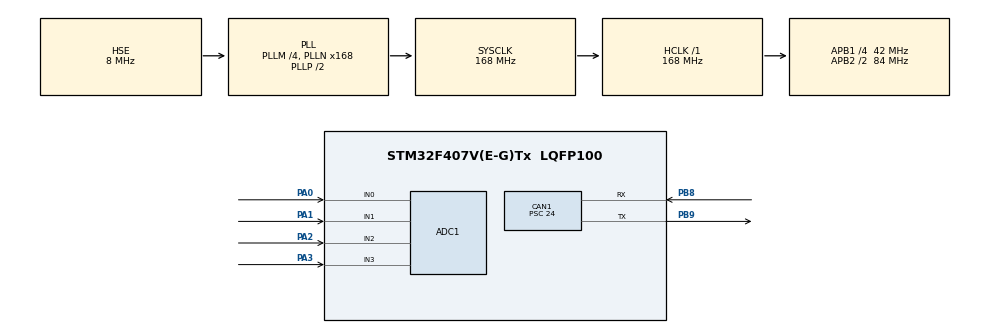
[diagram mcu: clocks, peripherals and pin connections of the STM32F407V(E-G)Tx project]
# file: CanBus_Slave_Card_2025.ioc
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ADC1.Channel-0\#ChannelRegularConversion=ADC_CHANNEL_0
ADC1.ContinuousConvMode=ENABLE
ADC1.NbrOfConversionFlag=1
ADC1.Rank-0\#ChannelRegularConversion=1
ADC1.SamplingTime-0\#ChannelRegularConversion=ADC_SAMPLETIME_3CYCLES
ADC1.master=1
CAN1.BS1=CAN_BS1_3TQ
CAN1.BS2=CAN_BS2_3TQ
CAN1.CalculateBaudRate=250000
CAN1.CalculateTimeBit=4000
CAN1.CalculateTimeQuantum=571.4285714285714
CAN1.Prescaler=24
Mcu.Family=STM32F4
Mcu.Name=STM32F407V(E-G)Tx
Mcu.Package=LQFP100
NVIC.PriorityGroup=NVIC_PRIORITYGROUP_4
PA0-WKUP.Signal=ADCx_IN0
PA1.Signal=ADCx_IN1
PA13.Mode=Serial_Wire
PA13.Signal=SYS_JTMS-SWDIO
PA14.Mode=Serial_Wire
PA14.Signal=SYS_JTCK-SWCLK
PA2.Signal=ADCx_IN2
PA3.Signal=ADCx_IN3
PB8.Mode=CAN_Activate
PB8.Signal=CAN1_RX
PB9.Mode=CAN_Activate
PB9.Signal=CAN1_TX
PH0-OSC_IN.Mode=HSE-External-Oscillator
PH0-OSC_IN.Signal=RCC_OSC_IN
PH1-OSC_OUT.Mode=HSE-External-Oscillator
PH1-OSC_OUT.Signal=RCC_OSC_OUT
ProjectManager.HeapSize=0x200
ProjectManager.StackSize=0x400
ProjectManager.TargetToolchain=STM32CubeIDE
RCC.48MHZClocksFreq_Value=84000000
RCC.AHBFreq_Value=168000000
RCC.APB1CLKDivider=RCC_HCLK_DIV4
RCC.APB1Freq_Value=42000000
RCC.APB1TimFreq_Value=84000000
RCC.APB2CLKDivider=RCC_HCLK_DIV2
RCC.APB2Freq_Value=84000000
RCC.APB2TimFreq_Value=168000000
RCC.CortexFreq_Value=168000000
RCC.HCLKFreq_Value=168000000
RCC.HSE_VALUE=8000000
RCC.HSI_VALUE=16000000
RCC.LSE_VALUE=32768
RCC.PLLM=4
RCC.PLLN=168
RCC.PLLSourceVirtual=RCC_PLLSOURCE_HSE
RCC.SYSCLKFreq_VALUE=168000000
RCC.SYSCLKSource=RCC_SYSCLKSOURCE_PLLCLK
RCC.VCOOutputFreq_Value=336000000
SH.ADCx_IN0.0=ADC1_IN0,IN0
SH.ADCx_IN1.0=ADC1_IN1,IN1
SH.ADCx_IN2.0=ADC1_IN2,IN2
SH.ADCx_IN3.0=ADC1_IN3,IN3
board=custom

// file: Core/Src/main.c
/* USER CODE BEGIN Header */
/**
  ******************************************************************************
  * @file           : main.c
  * @brief          : Main program body
  ******************************************************************************
  * @attention
  *
  * Copyright (c) 2025 STMicroelectronics.
  * All rights reserved.
  *
  * This software is licensed under terms that can be found in the LICENSE file
  * in the root directory of this software component.
  * If no LICENSE file comes with this software, it is provided AS-IS.
  *
  ******************************************************************************
  */
/* USER CODE END Header */
#include "main.h"

/* USER CODE BEGIN Includes */

uint16_t readValue1;
uint16_t readValue2;
uint16_t readValue3;
uint16_t readValue4;
uint16_t readValue5;

uint8_t Value1;
uint8_t Value2;
uint8_t Value3;
uint8_t Value4;
uint8_t Value5;

ADC_ChannelConfTypeDef sConfigPrivate = {0};

/* USER CODE END Includes */

ADC_HandleTypeDef hadc1;

CAN_HandleTypeDef hcan1;

/* USER CODE BEGIN PV */

CAN_TxHeaderTypeDef pTxHeader;
CAN_RxHeaderTypeDef pRxHeader;

CAN_FilterTypeDef sFilterConfig;

uint32_t pTxMailbox;
uint8_t dizi[5];
uint8_t rCount;

/* USER CODE END PV */

void SystemClock_Config(void);
static void MX_GPIO_Init(void);
static void MX_ADC1_Init(void);
static void MX_CAN1_Init(void);

/* USER CODE BEGIN 0 */

void Read_ADC()
{
	sConfigPrivate.Rank = 1;
	sConfigPrivate.SamplingTime = ADC_SAMPLETIME_3CYCLES;

	sConfigPrivate.Channel = ADC_CHANNEL_0;
	HAL_ADC_ConfigChannel(&hadc1, &sConfigPrivate);
	HAL_ADC_Start(&hadc1);
	HAL_ADC_PollForConversion(&hadc1, 1000);
	readValue1 = HAL_ADC_GetValue(&hadc1);
	Value1 = readValue1/16;
	dizi[0] = Value1;
	HAL_ADC_Stop(&hadc1);

	sConfigPrivate.Channel = ADC_CHANNEL_1;
	HAL_ADC_ConfigChannel(&hadc1, &sConfigPrivate);
	HAL_ADC_Start(&hadc1);
	HAL_ADC_PollForConversion(&hadc1, 1000);
	readValue2 = HAL_ADC_GetValue(&hadc1);
	Value2 = readValue2/16;
	dizi[1] = Value2;
	HAL_ADC_Stop(&hadc1);

	sConfigPrivate.Channel = ADC_CHANNEL_2;
	HAL_ADC_ConfigChannel(&hadc1, &sConfigPrivate);
	HAL_ADC_Start(&hadc1);
	HAL_ADC_PollForConversion(&hadc1, 1000);
	readValue3 = HAL_ADC_GetValue(&hadc1);
	Value3 = readValue3/16;
	dizi[2] = Value3;
	HAL_ADC_Stop(&hadc1);

	sConfigPrivate.Channel = ADC_CHANNEL_3;
	HAL_ADC_ConfigChannel(&hadc1, &sConfigPrivate);
	HAL_ADC_Start(&hadc1);
	HAL_ADC_PollForConversion(&hadc1, 1000);
	readValue4 = HAL_ADC_GetValue(&hadc1);
	Value4 = readValue4/16;
	dizi[3] = Value4;
	HAL_ADC_Stop(&hadc1);

	sConfigPrivate.Channel = ADC_CHANNEL_4;
	HAL_ADC_ConfigChannel(&hadc1, &sConfigPrivate);
	HAL_ADC_Start(&hadc1);
	HAL_ADC_PollForConversion(&hadc1, 1000);
	readValue5 = HAL_ADC_GetValue(&hadc1);
	Value5 = readValue5/16;
	dizi[4] = Value5;
	HAL_ADC_Stop(&hadc1);
}

/* USER CODE END 0 */

int main(void)
{

  /* MCU Configuration--------------------------------------------------------*/

  /* Reset of all peripherals, Initializes the Flash interface and the Systick. */
  HAL_Init();

  /* Configure the system clock */
  SystemClock_Config();

  /* Initialize all configured peripherals */
  MX_GPIO_Init();
  MX_ADC1_Init();
  MX_CAN1_Init();
  /* USER CODE BEGIN 2 */

  HAL_CAN_Start(&hcan1);

  HAL_CAN_ActivateNotification(&hcan1, CAN_IT_RX_FIFO0_MSG_PENDING);

  pTxHeader.DLC=5;
  pTxHeader.IDE = CAN_ID_STD;
  pTxHeader.RTR= CAN_RTR_DATA;
  pTxHeader.StdId = 0x0101;

  sFilterConfig.FilterActivation = ENABLE;
  sFilterConfig.FilterBank = 0;
  sFilterConfig.FilterFIFOAssignment = CAN_FILTER_FIFO0;
  sFilterConfig.FilterIdHigh = 0x0303 << 5;
  sFilterConfig.FilterIdLow = 0x0303 << 5;
  sFilterConfig.FilterMaskIdHigh = 0xFFFF << 5;
  sFilterConfig.FilterMaskIdLow = 0xFFFF << 5;
  sFilterConfig.FilterMode = CAN_FILTERMODE_IDMASK;
  sFilterConfig.FilterScale = CAN_FILTERSCALE_32BIT;

  HAL_CAN_ConfigFilter(&hcan1, &sFilterConfig);

  /* USER CODE END 2 */

  /* Infinite loop */
  while (1)
  {

    /* USER CODE BEGIN 3 */
	  Read_ADC();

	  if (rCount == 1)
	  {
		  HAL_CAN_AddTxMessage(&hcan1, &pTxHeader, dizi, &pTxMailbox);
	  }
	  HAL_Delay(50);

	  HAL_CAN_GetRxMessage(&hcan1, CAN_RX_FIFO0, &pRxHeader, &rCount);

	  HAL_Delay(50);

  }
  /* USER CODE END 3 */
}

void SystemClock_Config(void)
{
  RCC_OscInitTypeDef RCC_OscInitStruct = {0};
  RCC_ClkInitTypeDef RCC_ClkInitStruct = {0};

  /** Configure the main internal regulator output voltage
  */
  __HAL_RCC_PWR_CLK_ENABLE();
  __HAL_PWR_VOLTAGESCALING_CONFIG(PWR_REGULATOR_VOLTAGE_SCALE1);

  /** Initializes the RCC Oscillators according to the specified parameters
  * in the RCC_OscInitTypeDef structure.
  */
  RCC_OscInitStruct.OscillatorType = RCC_OSCILLATORTYPE_HSE;
  RCC_OscInitStruct.HSEState = RCC_HSE_ON;
  RCC_OscInitStruct.PLL.PLLState = RCC_PLL_ON;
  RCC_OscInitStruct.PLL.PLLSource = RCC_PLLSOURCE_HSE;
  RCC_OscInitStruct.PLL.PLLM = 4;
  RCC_OscInitStruct.PLL.PLLN = 168;
  RCC_OscInitStruct.PLL.PLLP = RCC_PLLP_DIV2;
  RCC_OscInitStruct.PLL.PLLQ = 4;
  if (HAL_RCC_OscConfig(&RCC_OscInitStruct) != HAL_OK)
  {
    Error_Handler();
  }

  /** Initializes the CPU, AHB and APB buses clocks
  */
  RCC_ClkInitStruct.ClockType = RCC_CLOCKTYPE_HCLK|RCC_CLOCKTYPE_SYSCLK
                              |RCC_CLOCKTYPE_PCLK1|RCC_CLOCKTYPE_PCLK2;
  RCC_ClkInitStruct.SYSCLKSource = RCC_SYSCLKSOURCE_PLLCLK;
  RCC_ClkInitStruct.AHBCLKDivider = RCC_SYSCLK_DIV1;
  RCC_ClkInitStruct.APB1CLKDivider = RCC_HCLK_DIV4;
  RCC_ClkInitStruct.APB2CLKDivider = RCC_HCLK_DIV2;

  if (HAL_RCC_ClockConfig(&RCC_ClkInitStruct, FLASH_LATENCY_5) != HAL_OK)
  {
    Error_Handler();
  }
}

static void MX_ADC1_Init(void)
{

  ADC_ChannelConfTypeDef sConfig = {0};

  /** Configure the global features of the ADC (Clock, Resolution, Data Alignment and number of conversion)
  */
  hadc1.Instance = ADC1;
  hadc1.Init.ClockPrescaler = ADC_CLOCK_SYNC_PCLK_DIV4;
  hadc1.Init.Resolution = ADC_RESOLUTION_12B;
  hadc1.Init.ScanConvMode = DISABLE;
  hadc1.Init.ContinuousConvMode = ENABLE;
  hadc1.Init.DiscontinuousConvMode = DISABLE;
  hadc1.Init.ExternalTrigConvEdge = ADC_EXTERNALTRIGCONVEDGE_NONE;
  hadc1.Init.ExternalTrigConv = ADC_SOFTWARE_START;
  hadc1.Init.DataAlign = ADC_DATAALIGN_RIGHT;
  hadc1.Init.NbrOfConversion = 1;
  hadc1.Init.DMAContinuousRequests = DISABLE;
  hadc1.Init.EOCSelection = ADC_EOC_SINGLE_CONV;
  if (HAL_ADC_Init(&hadc1) != HAL_OK)
  {
    Error_Handler();
  }

  /** Configure for the selected ADC regular channel its corresponding rank in the sequencer and its sample time.
  */
  sConfig.Channel = ADC_CHANNEL_0;
  sConfig.Rank = 1;
  sConfig.SamplingTime = ADC_SAMPLETIME_3CYCLES;
  if (HAL_ADC_ConfigChannel(&hadc1, &sConfig) != HAL_OK)
  {
    Error_Handler();
  }

}

static void MX_CAN1_Init(void)
{

  hcan1.Instance = CAN1;
  hcan1.Init.Prescaler = 24;
  hcan1.Init.Mode = CAN_MODE_NORMAL;
  hcan1.Init.SyncJumpWidth = CAN_SJW_1TQ;
  hcan1.Init.TimeSeg1 = CAN_BS1_3TQ;
  hcan1.Init.TimeSeg2 = CAN_BS2_3TQ;
  hcan1.Init.TimeTriggeredMode = DISABLE;
  hcan1.Init.AutoBusOff = DISABLE;
  hcan1.Init.AutoWakeUp = DISABLE;
  hcan1.Init.AutoRetransmission = DISABLE;
  hcan1.Init.ReceiveFifoLocked = DISABLE;
  hcan1.Init.TransmitFifoPriority = DISABLE;
  if (HAL_CAN_Init(&hcan1) != HAL_OK)
  {
    Error_Handler();
  }

}

static void MX_GPIO_Init(void)
{

  /* GPIO Ports Clock Enable */
  __HAL_RCC_GPIOH_CLK_ENABLE();
  __HAL_RCC_GPIOA_CLK_ENABLE();
  __HAL_RCC_GPIOB_CLK_ENABLE();

}

void Error_Handler(void)
{
  __disable_irq();
  while (1)
  {
  }
}
